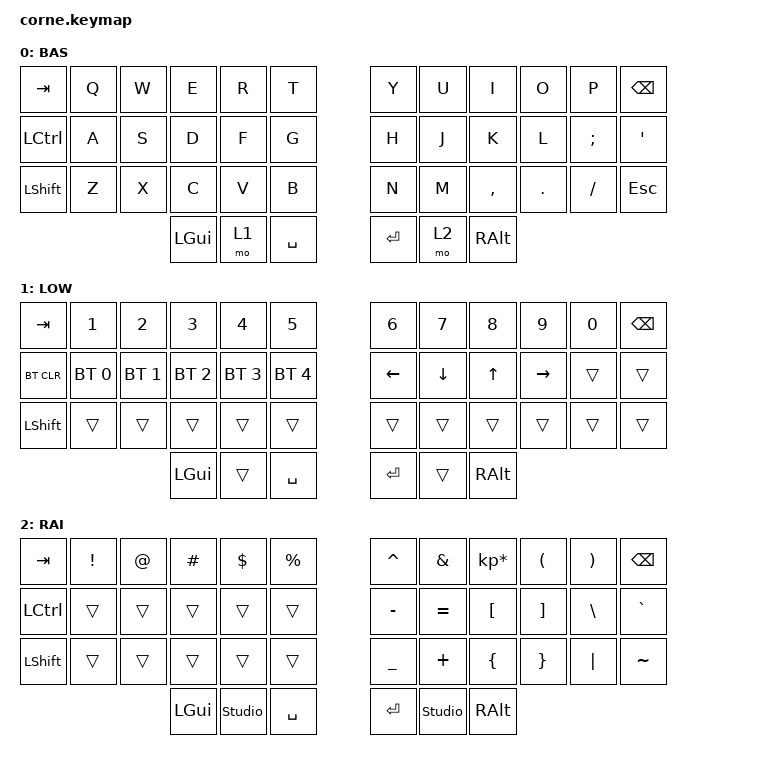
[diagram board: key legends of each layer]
/*
 * Copyright (c) 2020 The ZMK Contributors
 *
 * SPDX-License-Identifier: MIT
 */

#include <behaviors.dtsi>
#include <dt-bindings/zmk/keys.h>
#include <dt-bindings/zmk/bt.h>
#include <dt-bindings/zmk/outputs.h>
#include <dt-bindings/zmk/ext_power.h>
#include <dt-bindings/zmk/reset.h>

/ {
    keymap {
        compatible = "zmk,keymap";

        default_layer {
            display-name = "BAS";
            // -----------------------------------------------------------------------------------------
            // |  TAB |  Q  |  W  |  E  |  R  |  T  |   |  Y  |  U   |  I  |  O  |  P  | BKSP |
            // | CTRL |  A  |  S  |  D  |  F  |  G  |   |  H  |  J   |  K  |  L  |  ;  |  '   |
            // | SHFT |  Z  |  X  |  C  |  V  |  B  |   |  N  |  M   |  ,  |  .  |  /  | ESC  |
            //                    | GUI | LWR | SPC |   | ENT | RSE  | ALT |

            bindings = <
&kp TAB    &kp Q  &kp W  &kp E     &kp R  &kp T        &kp Y    &kp U  &kp I      &kp O    &kp P     &kp BSPC
&kp LCTRL  &kp A  &kp S  &kp D     &kp F  &kp G        &kp H    &kp J  &kp K      &kp L    &kp SEMI  &kp SQT
&kp LSHFT  &kp Z  &kp X  &kp C     &kp V  &kp B        &kp N    &kp M  &kp COMMA  &kp DOT  &kp FSLH  &kp ESC
                         &kp LGUI  &mo 1  &kp SPACE    &kp RET  &mo 2  &kp RALT
            >;
        };

        lower_layer {
            display-name = "LOW";
            // -----------------------------------------------------------------------------------------
            // |  TAB |  1  |  2  |  3  |  4  |  5  |   |  6  |  7  |  8  |  9  |  0  | BKSP |
            // | BTCLR| BT1 | BT2 | BT3 | BT4 | BT5 |   | LFT | DWN |  UP | RGT |     |      |
            // | SHFT |     |     |     |     |     |   |     |     |     |     |     |      |
            //                    | GUI |     | SPC |   | ENT |     | ALT |

            bindings = <
&kp TAB     &kp N1        &kp N2        &kp N3        &kp N4        &kp N5          &kp N6    &kp N7    &kp N8    &kp N9     &kp N0  &kp BSPC
&bt BT_CLR  &bt BT_SEL 0  &bt BT_SEL 1  &bt BT_SEL 2  &bt BT_SEL 3  &bt BT_SEL 4    &kp LEFT  &kp DOWN  &kp UP    &kp RIGHT  &trans  &trans
&kp LSHFT   &trans        &trans        &trans        &trans        &trans          &trans    &trans    &trans    &trans     &trans  &trans
                                        &kp LGUI      &trans        &kp SPACE       &kp RET   &trans    &kp RALT
            >;
        };

        raise_layer {
            display-name = "RAI";
            // -----------------------------------------------------------------------------------------
            // |  TAB |  !  |  @  |  #  |  $  |  %  |   |  ^  |  &  |  *  |  (  |  )  | BKSP |
            // | CTRL |     |     |     |     |     |   |  -  |  =  |  [  |  ]  |  \  |  `   |
            // | SHFT |     |     |     |     |     |   |  _  |  +  |  {  |  }  | "|" |  ~   |
            //                    | GUI |     | SPC |   | ENT |     | ALT |

            bindings = <
&kp TAB    &kp EXCL  &kp AT  &kp HASH   &kp DLLR  &kp PRCNT    &kp CARET  &kp AMPS   &kp KP_MULTIPLY  &kp LPAR  &kp RPAR  &kp BSPC
&kp LCTRL  &trans    &trans  &trans  &trans    &trans    &kp MINUS  &kp EQUAL  &kp LBKT         &kp RBKT  &kp BSLH  &kp GRAVE
&kp LSHFT  &trans    &trans  &trans     &trans    &trans       &kp UNDER  &kp PLUS   &kp LBRC         &kp RBRC  &kp PIPE  &kp TILDE
                             &kp LGUI   &studio_unlock    &kp SPACE    &kp RET    &studio_unlock     &kp RALT
            >;
        };
        extra_1 {
            status = "reserved";
        };

        extra_2 {
            status = "reserved";
        };

        extra_3 {
            status = "reserved";
        };
    };
};
/*
 * Copyright (c) 2020 The ZMK Contributors
 *
 * SPDX-License-Identifier: MIT
 */

#include <behaviors.dtsi>
#include <dt-bindings/zmk/keys.h>
#include <dt-bindings/zmk/bt.h>
#include <dt-bindings/zmk/outputs.h>
#include <dt-bindings/zmk/ext_power.h>
#include <dt-bindings/zmk/reset.h>

/ {
    keymap {
        compatible = "zmk,keymap";

        default_layer {
            display-name = "BAS";
            // -----------------------------------------------------------------------------------------
            // |  TAB |  Q  |  W  |  E  |  R  |  T  |   |  Y  |  U   |  I  |  O  |  P  | BKSP |
            // | CTRL |  A  |  S  |  D  |  F  |  G  |   |  H  |  J   |  K  |  L  |  ;  |  '   |
            // | SHFT |  Z  |  X  |  C  |  V  |  B  |   |  N  |  M   |  ,  |  .  |  /  | ESC  |
            //                    | GUI | LWR | SPC |   | ENT | RSE  | ALT |

            bindings = <
&kp TAB    &kp Q  &kp W  &kp E     &kp R  &kp T        &kp Y    &kp U  &kp I      &kp O    &kp P     &kp BSPC
&kp LCTRL  &kp A  &kp S  &kp D     &kp F  &kp G        &kp H    &kp J  &kp K      &kp L    &kp SEMI  &kp SQT
&kp LSHFT  &kp Z  &kp X  &kp C     &kp V  &kp B        &kp N    &kp M  &kp COMMA  &kp DOT  &kp FSLH  &kp ESC
                         &kp LGUI  &mo 1  &kp SPACE    &kp RET  &mo 2  &kp RALT
            >;
        };

        lower_layer {
            display-name = "LOW";
            // -----------------------------------------------------------------------------------------
            // |  TAB |  1  |  2  |  3  |  4  |  5  |   |  6  |  7  |  8  |  9  |  0  | BKSP |
            // | BTCLR| BT1 | BT2 | BT3 | BT4 | BT5 |   | LFT | DWN |  UP | RGT |     |      |
            // | SHFT |     |     |     |     |     |   |     |     |     |     |     |      |
            //                    | GUI |     | SPC |   | ENT |     | ALT |

            bindings = <
&kp TAB     &kp N1        &kp N2        &kp N3        &kp N4        &kp N5          &kp N6    &kp N7    &kp N8    &kp N9     &kp N0  &kp BSPC
&bt BT_CLR  &bt BT_SEL 0  &bt BT_SEL 1  &bt BT_SEL 2  &bt BT_SEL 3  &bt BT_SEL 4    &kp LEFT  &kp DOWN  &kp UP    &kp RIGHT  &trans  &trans
&kp LSHFT   &trans        &trans        &trans        &trans        &trans          &trans    &trans    &trans    &trans     &trans  &trans
                                        &kp LGUI      &trans        &kp SPACE       &kp RET   &trans    &kp RALT
            >;
        };

        raise_layer {
            display-name = "RAI";
            // -----------------------------------------------------------------------------------------
            // |  TAB |  !  |  @  |  #  |  $  |  %  |   |  ^  |  &  |  *  |  (  |  )  | BKSP |
            // | CTRL |     |     |     |     |     |   |  -  |  =  |  [  |  ]  |  \  |  `   |
            // | SHFT |     |     |     |     |     |   |  _  |  +  |  {  |  }  | "|" |  ~   |
            //                    | GUI |     | SPC |   | ENT |     | ALT |

            bindings = <
&kp TAB    &kp EXCL  &kp AT  &kp HASH   &kp DLLR  &kp PRCNT    &kp CARET  &kp AMPS   &kp KP_MULTIPLY  &kp LPAR  &kp RPAR  &kp BSPC
&kp LCTRL  &trans    &trans  &trans  &trans    &trans    &kp MINUS  &kp EQUAL  &kp LBKT         &kp RBKT  &kp BSLH  &kp GRAVE
&kp LSHFT  &trans    &trans  &trans     &trans    &trans       &kp UNDER  &kp PLUS   &kp LBRC         &kp RBRC  &kp PIPE  &kp TILDE
                             &kp LGUI   &studio_unlock    &kp SPACE    &kp RET    &studio_unlock     &kp RALT
            >;
        };
        extra_1 {
            status = "reserved";
        };

        extra_2 {
            status = "reserved";
        };

        extra_3 {
            status = "reserved";
        };
    };
};
